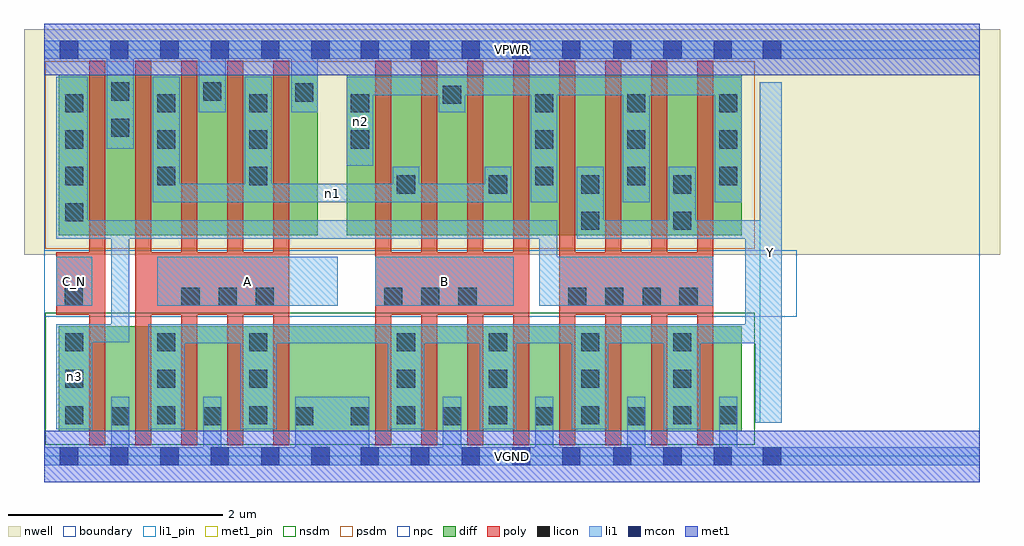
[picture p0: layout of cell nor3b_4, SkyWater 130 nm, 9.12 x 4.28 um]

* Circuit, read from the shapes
.subckt nor3b_4 A B C_N VGND VPWR Y n1 n2 n3
XM1 VGND C_N n3 VSUBS sky130_fd_pr__nfet_01v8 w=0.98 l=0.15
XM2 Y A VGND VSUBS sky130_fd_pr__nfet_01v8 w=0.98 l=0.15 m=4
XM3 Y B VGND VSUBS sky130_fd_pr__nfet_01v8 w=0.98 l=0.15 m=4
XM4 Y n3 VGND VSUBS sky130_fd_pr__nfet_01v8 w=0.98 l=0.15 m=4
XM5 VPWR C_N n3 n4 sky130_fd_pr__pfet_01v8 w=1.5 l=0.15
XM6 n1 A VPWR n4 sky130_fd_pr__pfet_01v8 w=1.5 l=0.15 m=4
XM7 n1 B n2 n4 sky130_fd_pr__pfet_01v8 w=1.5 l=0.15 m=4
XM8 Y n3 n2 n4 sky130_fd_pr__pfet_01v8 w=1.5 l=0.15 m=4
.ends

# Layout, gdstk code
import gdstk
lib = gdstk.Library(unit=1e-6, precision=1e-09)
def R(c, l, rs):  # rectangles x0, y0, x1, y1
    for r in rs: c.add(gdstk.rectangle(r[:2], r[2:], *l))
def A(c, l, x, y, w, h, nx, ny, dx, dy):  # array of equal rectangles
    R(c, l, [(x+i*dx, y+j*dy, x+i*dx+w, y+j*dy+h) for i in range(nx) for j in range(ny)])
nwell = (64, 20)
diff = (65, 20)
poly = (66, 20)
licon = (66, 44)
li1_pin = (67, 16)
li1 = (67, 20)
mcon = (67, 44)
met1_pin = (68, 16)
met1 = (68, 20)
nsdm = (93, 44)
psdm = (94, 20)
npc = (95, 20)
boundary = (235, 4)

nor3b_4 = lib.new_cell('nor3b_4')
R(nor3b_4, nwell, [(-0.19,1.885,8.93,3.99), (0,1.885,8.74,3.99)])
R(nor3b_4, diff, [(0.135,0.235,6.515,1.215), (0.135,2.065,2.555,3.565), (2.825,2.065,6.515,3.565)])
A(nor3b_4, poly, 0.42, 0.105, 0.15, 3.59, 5, 1, 0.43, 0)
A(nor3b_4, poly, 3.09, 0.105, 0.15, 3.59, 8, 1, 0.43, 0)
R(nor3b_4, poly, [(0.11,1.325,0.57,1.905), (0.85,1.325,2.29,1.905), (3.09,1.325,4.53,1.905), (4.81,1.325,6.25,1.905)])
A(nor3b_4, licon, 0.625, 0.29, 0.17, 0.17, 3, 1, 0.86, 0)
A(nor3b_4, licon, 2.865, 0.29, 0.17, 0.17, 4, 1, 0.86, 0)
A(nor3b_4, licon, 0.195, 0.3, 0.17, 0.17, 3, 3, 0.86, 0.34)
A(nor3b_4, licon, 3.295, 0.3, 0.17, 0.17, 4, 3, 0.86, 0.34)
A(nor3b_4, licon, 3.295, 2.455, 0.17, 0.17, 4, 1, 0.86, 0)
A(nor3b_4, licon, 0.195, 2.535, 0.17, 0.17, 3, 3, 0.86, 0.34)
A(nor3b_4, licon, 4.585, 2.535, 0.17, 0.17, 3, 3, 0.86, 0.34)
R(nor3b_4, licon, [(6.305,0.3,6.475,0.47), (0.19,1.405,0.36,1.575), (1.28,1.405,1.45,1.575), (1.63,1.405,1.8,1.575), (1.975,1.405,2.145,1.575), (3.175,1.405,3.345,1.575), (3.52,1.405,3.69,1.575), (3.87,1.405,4.04,1.575), (4.895,1.405,5.065,1.575), (5.24,1.405,5.41,1.575), (5.59,1.405,5.76,1.575), (5.935,1.405,6.105,1.575), (5.015,2.115,5.185,2.285), (5.875,2.115,6.045,2.285), (0.195,2.195,0.365,2.365), (2.865,2.875,3.035,3.045), (0.625,2.985,0.795,3.155), (2.865,3.215,3.035,3.385), (3.725,3.295,3.895,3.465), (2.345,3.315,2.515,3.485), (0.625,3.325,0.795,3.495), (1.485,3.325,1.655,3.495)])
R(nor3b_4, li1_pin, [(6.685,0.315,6.89,3.495), (0.11,1.405,0.45,1.865), (1.055,1.405,2.74,1.865), (3.09,1.405,4.385,1.865)])
A(nor3b_4, li1, 3.725, -0.085, 0.17, 0.64, 4, 1, 0.86, 0)
A(nor3b_4, li1, 0.11, 0.255, 0.34, 0.98, 3, 1, 0.86, 0)
A(nor3b_4, li1, 3.21, 0.255, 0.34, 0.98, 4, 1, 0.86, 0)
A(nor3b_4, li1, 4.545, 2.375, 0.25, 1.17, 3, 1, 0.86, 0)
R(nor3b_4, li1, [(0,-0.085,8.74,0.085), (0.625,-0.085,0.795,0.555), (1.485,-0.085,1.655,0.555), (2.345,-0.085,3.035,0.555), (6.645,0.315,6.89,2.205), (6.685,0.315,6.89,3.495), (0.97,1.055,6.89,1.235), (6.55,1.055,6.89,2.205), (0.11,1.065,0.795,1.235), (0.625,1.065,0.795,2.205), (0.11,1.405,0.45,1.865), (1.055,1.405,2.74,1.865), (3.09,1.405,4.385,1.865), (4.625,1.405,6.25,1.865), (4.625,1.405,4.795,2.205), (0.11,2.035,4.795,2.205), (0.11,2.035,0.405,3.545), (4.975,2.035,6.89,2.205), (4.975,2.035,5.225,2.705), (5.835,2.035,6.085,2.705), (1.015,2.375,4.365,2.545), (1.015,2.375,1.265,3.545), (1.875,2.375,2.125,3.545), (3.255,2.375,3.505,2.705), (4.115,2.375,4.365,2.705), (2.825,2.715,3.075,3.545), (0.585,2.875,0.835,3.885), (1.445,3.215,1.695,3.885), (2.305,3.215,2.555,3.885), (3.685,3.215,3.935,3.545), (2.825,3.375,6.515,3.545), (0,3.715,8.74,3.885)])
A(nor3b_4, mcon, 0.145, -0.085, 0.17, 0.17, 6, 2, 0.47, 3.8)
A(nor3b_4, mcon, 3.9, -0.085, 0.17, 0.17, 3, 2, 0.47, 3.8)
A(nor3b_4, mcon, 5.315, -0.085, 0.17, 0.17, 3, 2, 0.47, 3.8)
R(nor3b_4, mcon, [(2.955,-0.085,3.125,0.085), (3.425,-0.085,3.595,0.085), (6.715,-0.085,6.885,0.085), (2.955,3.715,3.125,3.885), (3.425,3.715,3.595,3.885), (6.715,3.715,6.885,3.885)])
R(nor3b_4, met1_pin, [(0,-0.24,8.74,0.24), (0,3.56,8.74,4.04)])
R(nor3b_4, met1, [(0,-0.24,8.74,0.24), (0,3.56,8.74,4.04)])
R(nor3b_4, nsdm, [(0.01,0.11,6.64,1.34)])
R(nor3b_4, psdm, [(0.01,1.94,6.64,3.69)])
R(nor3b_4, npc, [(0,1.305,7.03,1.925)])
R(nor3b_4, boundary, [(0,0,8.74,3.8)])
nor3b_4.add(gdstk.Label('A', (1.897,1.635), layer=67, texttype=5))
nor3b_4.add(gdstk.Label('B', (3.737,1.635), layer=67, texttype=5))
nor3b_4.add(gdstk.Label('C_N', (0.28,1.635), layer=67, texttype=5))
nor3b_4.add(gdstk.Label('Y', (6.787,1.905), layer=67, texttype=5))
nor3b_4.add(gdstk.Label('n3', (0.28,0.745), layer=67, texttype=5))
nor3b_4.add(gdstk.Label('n1', (2.69,2.46), layer=67, texttype=5))
nor3b_4.add(gdstk.Label('n2', (2.95,3.13), layer=67, texttype=5))
nor3b_4.add(gdstk.Label('VPWR', (4.37,3.8), layer=68, texttype=5))
nor3b_4.add(gdstk.Label('VGND', (4.37,0), layer=68, texttype=5))
nor3b_4.add(gdstk.Label('A', (1.897,1.635), layer=67, texttype=16))
nor3b_4.add(gdstk.Label('B', (3.737,1.635), layer=67, texttype=16))
nor3b_4.add(gdstk.Label('C_N', (0.28,1.635), layer=67, texttype=16))
nor3b_4.add(gdstk.Label('Y', (6.787,1.905), layer=67, texttype=16))
nor3b_4.add(gdstk.Label('VPWR', (4.37,3.8), layer=68, texttype=16))
nor3b_4.add(gdstk.Label('VGND', (4.37,0), layer=68, texttype=16))

lib.write_gds('nor3b_4.gds')
